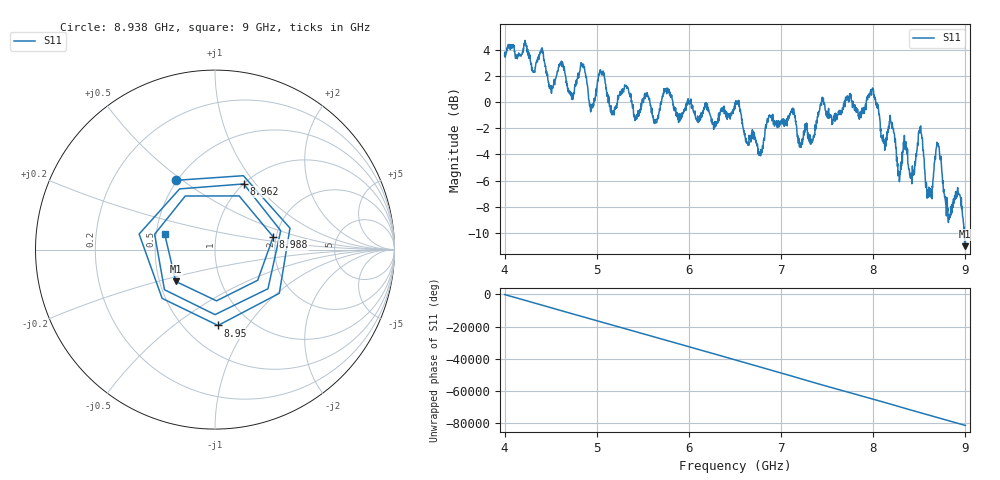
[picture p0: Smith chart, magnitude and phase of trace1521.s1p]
! Created with skrf 1.8.0 (http://scikit-rf.org).
# Hz S RI R 50.0
!freq ReS11 ImS11
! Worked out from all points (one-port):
!   1601 points, 4 GHz to 9 GHz, reference 50 ohm
!   lowest |S11| = -11.0 dB at 8.997 GHz (marker M1), VSWR 1.78, Z = 30.4 - j11.7 ohm
!   |S11| at or under -10 dB: 8.989162 GHz to end of sweep
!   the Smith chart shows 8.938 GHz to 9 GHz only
!   S11 on the Smith chart (normalised r, x): 8.938 GHz: 0.49, +0.47; 8.95 GHz: 0.72, -0.74; 8.962 GHz: 1.00, +0.87; 8.988 GHz: 1.93, +0.31; 9 GHz: 0.56, +0.10
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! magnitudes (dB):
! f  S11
! 4 GHz  3.6
! 4.625 GHz  2.7
! 4.725 GHz  0.7
! 4.85 GHz  2.9
! 4.941 GHz  -0.3
! 5.044 GHz  2.4
! 5.162 GHz  -0.9
! 5.25 GHz  0.5
! 5.875 GHz  -1.1
! 6.5 GHz  0.0
! 6.772 GHz  -3.9
! 7.125 GHz  -0.5
! 7.212 GHz  -3.3
! 7.75 GHz  0.7
! 7.994 GHz  1.1
! 8.112 GHz  -3.1
! 8.375 GHz  -4.7
! 8.425 GHz  -4.9
! 8.512 GHz  -1.9
! 8.606 GHz  -7.0
! 8.697 GHz  -3.2
! 8.812 GHz  -8.9
! 8.938 GHz  -7.1
! 8.95 GHz  -7.5
! 8.962 GHz  -8.0
! 8.988 GHz  -9.6
! 8.997 GHz  -11.0
! 9 GHz  -10.7
